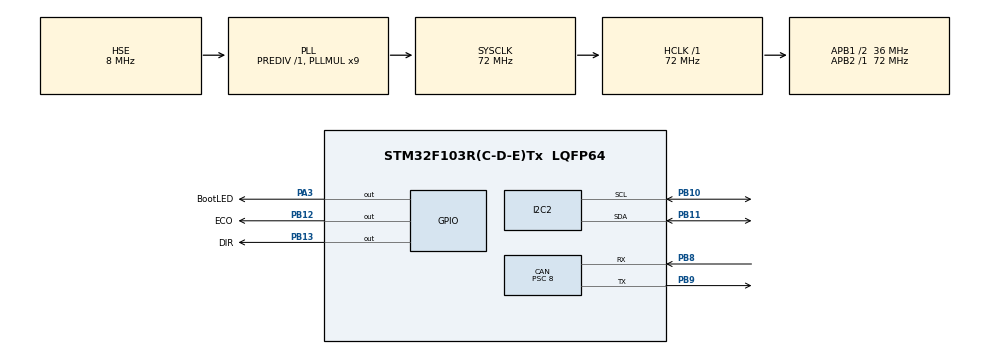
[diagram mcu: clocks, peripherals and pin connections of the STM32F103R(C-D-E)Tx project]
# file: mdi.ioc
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CAN.BS1=CAN_BS1_4TQ
CAN.BS2=CAN_BS2_4TQ
CAN.CalculateBaudRate=500000
CAN.CalculateTimeBit=2000
CAN.CalculateTimeQuantum=222.22222222222223
CAN.Prescaler=8
Mcu.Family=STM32F1
Mcu.Name=STM32F103R(C-D-E)Tx
Mcu.Package=LQFP64
NVIC.PriorityGroup=NVIC_PRIORITYGROUP_4
NVIC.USB_LP_CAN1_RX0_IRQn=true\:0\:0\:false\:false\:true\:true\:true\:true
PA13.Mode=Serial_Wire
PA13.Signal=SYS_JTMS-SWDIO
PA14.Mode=Serial_Wire
PA14.Signal=SYS_JTCK-SWCLK
PA3.GPIO_Label=BootLED
PA3.Signal=GPIO_Output
PB10.Mode=I2C
PB10.Signal=I2C2_SCL
PB11.Mode=I2C
PB11.Signal=I2C2_SDA
PB12.GPIO_Label=ECO
PB12.GPIO_ModeDefaultOutputPP=GPIO_MODE_OUTPUT_OD
PB12.GPIO_PuPd=GPIO_NOPULL
PB12.Signal=GPIO_Output
PB13.GPIO_Label=DIR
PB13.GPIO_ModeDefaultOutputPP=GPIO_MODE_OUTPUT_OD
PB13.GPIO_PuPd=GPIO_NOPULL
PB13.Signal=GPIO_Output
PB8.Mode=CAN_Activate
PB8.Signal=CAN_RX
PB9.Mode=CAN_Activate
PB9.Signal=CAN_TX
PD0-OSC_IN.Mode=HSE-External-Oscillator
PD0-OSC_IN.Signal=RCC_OSC_IN
PD1-OSC_OUT.Mode=HSE-External-Oscillator
PD1-OSC_OUT.Signal=RCC_OSC_OUT
ProjectManager.HeapSize=0x200
ProjectManager.StackSize=0x400
ProjectManager.TargetToolchain=STM32CubeIDE
RCC.AHBFreq_Value=72000000
RCC.APB1CLKDivider=RCC_HCLK_DIV2
RCC.APB1Freq_Value=36000000
RCC.APB1TimFreq_Value=72000000
RCC.APB2Freq_Value=72000000
RCC.APB2TimFreq_Value=72000000
RCC.HCLKFreq_Value=72000000
RCC.PLLMUL=RCC_PLL_MUL9
RCC.PLLSourceVirtual=RCC_PLLSOURCE_HSE
RCC.SYSCLKFreq_VALUE=72000000
RCC.SYSCLKSource=RCC_SYSCLKSOURCE_PLLCLK
RCC.USBFreq_Value=72000000
board=custom

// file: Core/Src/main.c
/* USER CODE BEGIN Header */
/**
  ******************************************************************************
  * @file           : main.c
  * @brief          : Main program body
  ******************************************************************************
  * @attention
  *
  * Copyright (c) 2025 STMicroelectronics.
  * All rights reserved.
  *
  * This software is licensed under terms that can be found in the LICENSE file
  * in the root directory of this software component.
  * If no LICENSE file comes with this software, it is provided AS-IS.
  *
  ******************************************************************************
  */
/* USER CODE END Header */
#include "main.h"
#include "can.h"
#include "i2c.h"
#include "iwdg.h"
#include "gpio.h"

/* USER CODE BEGIN Includes */

#include <stdbool.h>
#include "mdi.h"
#include "diagnostic.h"

/* USER CODE END Includes */

/* USER CODE BEGIN PD */

#define CLEAR           0
#define SET             1

/* USER CODE END PD */

/* USER CODE BEGIN PV */

MDI_motor_command_t g_MDI_motor_command = {0};
bool g_motor_command_received = false;
uint32_t g_last_command_time = 0;
uint32_t g_last_diagnostic_time = 0;

/* USER CODE END PV */

void SystemClock_Config(void);

int main(void)
{

  /* MCU Configuration--------------------------------------------------------*/

  /* Reset of all peripherals, Initializes the Flash interface and the Systick. */
  HAL_Init();

  /* Configure the system clock */
  SystemClock_Config();

  /* Initialize all configured peripherals */
  MX_GPIO_Init();
  MX_CAN_Init();
  MX_I2C2_Init();
  MX_IWDG_Init();
  /* USER CODE BEGIN 2 */

  // Activate Rx interrupt and start CAN.
  HAL_CAN_ActivateNotification(&hcan, CAN_IT_RX_FIFO0_MSG_PENDING);
  HAL_CAN_Start(&hcan);

  g_mdi_diagnostic_flags.raw = CLEAR;       // Start with all flags cleared
  IWDG_perform_reset_sequence();            // Check if IWDG reset
  MDI_diagnostic_flags();
  /* USER CODE END 2 */

  /* Infinite loop */
  /* USER CODE BEGIN WHILE */

  // Stop motor by default for redundancy.
  MDI_stop_motor();

  // Set reset timeout to the current time
  g_last_command_time = HAL_GetTick();

  while (1)
  {
    // Pet watchdog if we are NOT in the DEBUG configuration
    IWDG_Refresh();

    // MDI diagnostic runs every 1000ms. time since bootup + flags like iwdg
    if (HAL_GetTick() > (g_last_diagnostic_time + MDI_DIAGNOSTICS_DELAY))
    {
      MDI_time_since_bootup();
      MDI_diagnostic_flags();
      g_last_diagnostic_time = HAL_GetTick();
    }

    // If MDI hasn't received a CAN message for MAX_TIMEOUT_VALUE, stop motor for safety
    if (HAL_GetTick() > (g_last_command_time + MAX_TIMEOUT_VALUE))
    {
      MDI_stop_motor();
    }

    // Wait until motor command is received over CAN
    if (g_motor_command_received == true)
    {
      // Set motor command
      MDI_set_motor_command(&g_MDI_motor_command);

      // Reset timeout
      g_last_command_time = HAL_GetTick();
    }
    /* USER CODE END WHILE */

  }
}

void SystemClock_Config(void)
{
  RCC_OscInitTypeDef RCC_OscInitStruct = {0};
  RCC_ClkInitTypeDef RCC_ClkInitStruct = {0};

  /** Initializes the RCC Oscillators according to the specified parameters
  * in the RCC_OscInitTypeDef structure.
  */
  RCC_OscInitStruct.OscillatorType = RCC_OSCILLATORTYPE_LSI|RCC_OSCILLATORTYPE_HSE;
  RCC_OscInitStruct.HSEState = RCC_HSE_ON;
  RCC_OscInitStruct.HSEPredivValue = RCC_HSE_PREDIV_DIV1;
  RCC_OscInitStruct.HSIState = RCC_HSI_ON;
  RCC_OscInitStruct.LSIState = RCC_LSI_ON;
  RCC_OscInitStruct.PLL.PLLState = RCC_PLL_ON;
  RCC_OscInitStruct.PLL.PLLSource = RCC_PLLSOURCE_HSE;
  RCC_OscInitStruct.PLL.PLLMUL = RCC_PLL_MUL9;
  if (HAL_RCC_OscConfig(&RCC_OscInitStruct) != HAL_OK)
  {
    Error_Handler();
  }

  /** Initializes the CPU, AHB and APB buses clocks
  */
  RCC_ClkInitStruct.ClockType = RCC_CLOCKTYPE_HCLK|RCC_CLOCKTYPE_SYSCLK
                              |RCC_CLOCKTYPE_PCLK1|RCC_CLOCKTYPE_PCLK2;
  RCC_ClkInitStruct.SYSCLKSource = RCC_SYSCLKSOURCE_PLLCLK;
  RCC_ClkInitStruct.AHBCLKDivider = RCC_SYSCLK_DIV1;
  RCC_ClkInitStruct.APB1CLKDivider = RCC_HCLK_DIV2;
  RCC_ClkInitStruct.APB2CLKDivider = RCC_HCLK_DIV1;

  if (HAL_RCC_ClockConfig(&RCC_ClkInitStruct, FLASH_LATENCY_2) != HAL_OK)
  {
    Error_Handler();
  }
}

void Error_Handler(void)
{
  __disable_irq();
  while (1)
  {
  }
}
